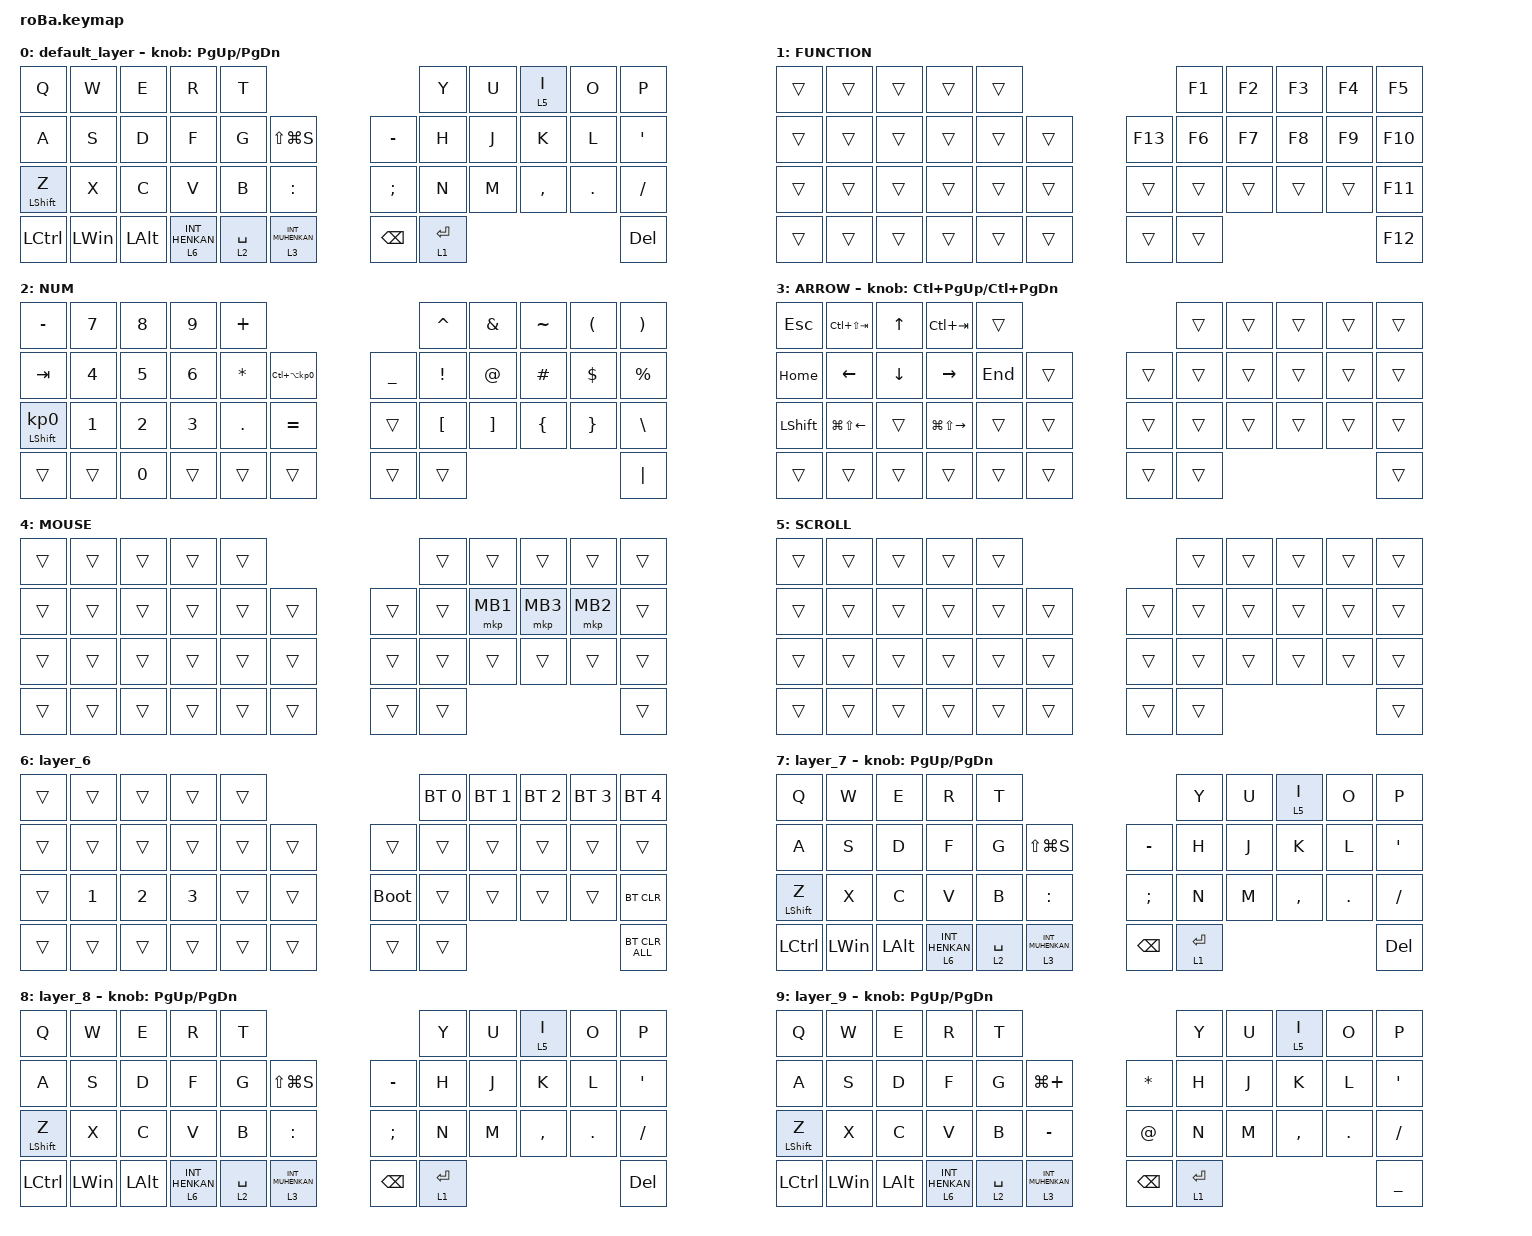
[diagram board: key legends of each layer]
#include <behaviors.dtsi>
#include <dt-bindings/zmk/bt.h>
#include <dt-bindings/zmk/keys.h>
#include <dt-bindings/zmk/pointing.h>

&mt {
    flavor = "balanced";
    quick-tap-ms = <0>;
};

&trackball {
    automouse-layer = <4>;
    scroll-layers = <5>;

    // arrows {
    //     layers = <3>;
    //     bindings =
    //         <&kp RIGHT_ARROW>,
    //         <&kp LEFT_ARROW>,
    //         <&kp UP_ARROW>,
    //         <&kp DOWN_ARROW>;
    //     tick = <10>;
    //     wait-ms = <5>;
    //     tap-ms = <5>;
    // };
};

/ {
    combos {
        compatible = "zmk,combos";

        tab {
            bindings = <&kp TAB>;
            key-positions = <11 12>;
        };

        shift_tab {
            bindings = <&kp LS(TAB)>;
            key-positions = <12 13>;
        };

        muhennkann {
            bindings = <&to_layer_0 INT_MUHENKAN>;
            key-positions = <11 10>;
        };

        double_quotation {
            bindings = <&kp DOUBLE_QUOTES>;
            key-positions = <20 21>;
        };

        eq {
            bindings = <&kp EQUAL>;
            key-positions = <24 25>;
        };
    };

    macros {
        to_layer_0: to_layer_0 {
            compatible = "zmk,behavior-macro-one-param";
            #binding-cells = <1>;
            bindings = <&to 0 &macro_param_1to1 &kp MACRO_PLACEHOLDER>;
            label = "TO_LAYER_0";
        };
    };

    behaviors {
        lt_to_layer_0: lt_to_layer_0 {
            compatible = "zmk,behavior-hold-tap";
            label = "LAYER_TAP_TO_0";
            bindings = <&mo>, <&to_layer_0>;

            #binding-cells = <2>;
            tapping-term-ms = <200>;
        };
    };

    keymap {
        compatible = "zmk,keymap";

        default_layer {
            bindings = <
&kp Q             &kp W         &kp E         &kp R                        &kp T                                                          &kp Y        &kp U  &lt 5 I    &kp O    &kp P
&kp A             &kp S         &kp D         &kp F                        &kp G        &kp LS(LG(S))                      &kp MINUS      &kp H        &kp J  &kp K      &kp L    &kp SQT
&mt LEFT_SHIFT Z  &kp X         &kp C         &kp V                        &kp B        &kp COLON                          &kp SEMICOLON  &kp N        &kp M  &kp COMMA  &kp DOT  &kp SLASH
&kp LCTRL         &kp LEFT_WIN  &kp LEFT_ALT  &lt_to_layer_0 6 INT_HENKAN  &lt 2 SPACE  &lt_to_layer_0 3 INT_MUHENKAN      &kp BACKSPACE  &lt 1 ENTER                             &kp DEL
            >;

            sensor-bindings = <&inc_dec_kp PG_UP PAGE_DOWN>;
        };

        FUNCTION {
            bindings = <
&trans  &trans  &trans  &trans  &trans                       &kp F1  &kp F2  &kp F3  &kp F4  &kp F5
&trans  &trans  &trans  &trans  &trans  &trans      &kp F13  &kp F6  &kp F7  &kp F8  &kp F9  &kp F10
&trans  &trans  &trans  &trans  &trans  &trans      &trans   &trans  &trans  &trans  &trans  &kp F11
&trans  &trans  &trans  &trans  &trans  &trans      &trans   &trans                          &kp F12
            >;
        };

        NUM {
            bindings = <
&kp MINUS                   &kp NUMBER_7  &kp NUMBER_8  &kp NUMBER_9  &kp PLUS                                                   &kp CARET         &kp AMPERSAND      &kp TILDE       &kp LEFT_PARENTHESIS  &kp RIGHT_PARENTHESIS
&kp TAB                     &kp NUMBER_4  &kp NUMBER_5  &kp NUMBER_6  &kp ASTERISK  &kp LC(LA(KP_NUMBER_0))      &kp UNDERSCORE  &kp EXCLAMATION   &kp AT_SIGN        &kp HASH        &kp DOLLAR            &kp PERCENT
&mt LEFT_SHIFT KP_NUMBER_0  &kp NUMBER_1  &kp NUMBER_2  &kp NUMBER_3  &kp PERIOD    &kp EQUAL                    &trans          &kp LEFT_BRACKET  &kp RIGHT_BRACKET  &kp LEFT_BRACE  &kp RIGHT_BRACE       &kp BACKSLASH
&trans                      &trans        &kp NUMBER_0  &trans        &trans        &trans                       &trans          &trans                                                                     &kp PIPE
            >;
        };

        ARROW {
            bindings = <
&kp ESCAPE      &kp LC(LS(TAB))         &kp UP_ARROW    &kp LC(TAB)              &trans                       &trans  &trans  &trans  &trans  &trans
&kp HOME        &kp LEFT_ARROW          &kp DOWN_ARROW  &kp RIGHT_ARROW          &kp END  &trans      &trans  &trans  &trans  &trans  &trans  &trans
&kp LEFT_SHIFT  &kp LG(LS(LEFT_ARROW))  &trans          &kp LG(LS(RIGHT_ARROW))  &trans   &trans      &trans  &trans  &trans  &trans  &trans  &trans
&trans          &trans                  &trans          &trans                   &trans   &trans      &trans  &trans                          &trans
            >;

            sensor-bindings = <&inc_dec_kp LC(PAGE_UP) LC(PAGE_DOWN)>;
        };

        MOUSE {
            bindings = <
&trans  &trans  &trans  &trans  &trans                      &trans  &trans    &trans    &trans    &trans
&trans  &trans  &trans  &trans  &trans  &trans      &trans  &trans  &mkp MB1  &mkp MB3  &mkp MB2  &trans
&trans  &trans  &trans  &trans  &trans  &trans      &trans  &trans  &trans    &trans    &trans    &trans
&trans  &trans  &trans  &trans  &trans  &trans      &trans  &trans                                &trans
            >;
        };

        SCROLL {
            bindings = <
&trans  &trans  &trans  &trans  &trans                      &trans  &trans  &trans  &trans  &trans
&trans  &trans  &trans  &trans  &trans  &trans      &trans  &trans  &trans  &trans  &trans  &trans
&trans  &trans  &trans  &trans  &trans  &trans      &trans  &trans  &trans  &trans  &trans  &trans
&trans  &trans  &trans  &trans  &trans  &trans      &trans  &trans                          &trans
            >;
        };

        layer_6 {
            bindings = <
&trans  &trans        &trans        &trans        &trans                           &bt BT_SEL 0  &bt BT_SEL 1  &bt BT_SEL 2  &bt BT_SEL 3  &bt BT_SEL 4
&trans  &trans        &trans        &trans        &trans  &trans      &trans       &trans        &trans        &trans        &trans        &trans
&trans  &kp NUMBER_1  &kp NUMBER_2  &kp NUMBER_3  &trans  &trans      &bootloader  &trans        &trans        &trans        &trans        &bt BT_CLR
&trans  &trans        &trans        &trans        &trans  &trans      &trans       &trans                                                  &bt BT_CLR_ALL
            >;
        };

        layer_7 {
            bindings = <
&kp Q             &kp W         &kp E         &kp R                        &kp T                                                          &kp Y        &kp U  &lt 5 I    &kp O    &kp P
&kp A             &kp S         &kp D         &kp F                        &kp G        &kp LS(LG(S))                      &kp MINUS      &kp H        &kp J  &kp K      &kp L    &kp SQT
&mt LEFT_SHIFT Z  &kp X         &kp C         &kp V                        &kp B        &kp COLON                          &kp SEMICOLON  &kp N        &kp M  &kp COMMA  &kp DOT  &kp SLASH
&kp LCTRL         &kp LEFT_WIN  &kp LEFT_ALT  &lt_to_layer_0 6 INT_HENKAN  &lt 2 SPACE  &lt_to_layer_0 3 INT_MUHENKAN      &kp BACKSPACE  &lt 1 ENTER                             &kp DEL
            >;

            sensor-bindings = <&inc_dec_kp PG_UP PAGE_DOWN>;
        };

        layer_8 {
            bindings = <
&kp Q             &kp W         &kp E         &kp R                        &kp T                                                          &kp Y        &kp U  &lt 5 I    &kp O    &kp P
&kp A             &kp S         &kp D         &kp F                        &kp G        &kp LS(LG(S))                      &kp MINUS      &kp H        &kp J  &kp K      &kp L    &kp SQT
&mt LEFT_SHIFT Z  &kp X         &kp C         &kp V                        &kp B        &kp COLON                          &kp SEMICOLON  &kp N        &kp M  &kp COMMA  &kp DOT  &kp SLASH
&kp LCTRL         &kp LEFT_WIN  &kp LEFT_ALT  &lt_to_layer_0 6 INT_HENKAN  &lt 2 SPACE  &lt_to_layer_0 3 INT_MUHENKAN      &kp BACKSPACE  &lt 1 ENTER                             &kp DEL
            >;

            sensor-bindings = <&inc_dec_kp PG_UP PAGE_DOWN>;
        };

        layer_9 {
            bindings = <
&kp Q             &kp W         &kp E         &kp R                        &kp T                                                          &kp Y        &kp U  &lt 5 I    &kp O    &kp P
&kp A             &kp S         &kp D         &kp F                        &kp G        &kp LG(PLUS)                       &kp ASTERISK   &kp H        &kp J  &kp K      &kp L    &kp SQT
&mt LEFT_SHIFT Z  &kp X         &kp C         &kp V                        &kp B        &kp MINUS                          &kp AT_SIGN    &kp N        &kp M  &kp COMMA  &kp DOT  &kp SLASH
&kp LCTRL         &kp LEFT_WIN  &kp LEFT_ALT  &lt_to_layer_0 6 INT_HENKAN  &lt 2 SPACE  &lt_to_layer_0 3 INT_MUHENKAN      &kp BACKSPACE  &lt 1 ENTER                             &kp UNDERSCORE
            >;

            sensor-bindings = <&inc_dec_kp PG_UP PAGE_DOWN>;
        };
    };
};
